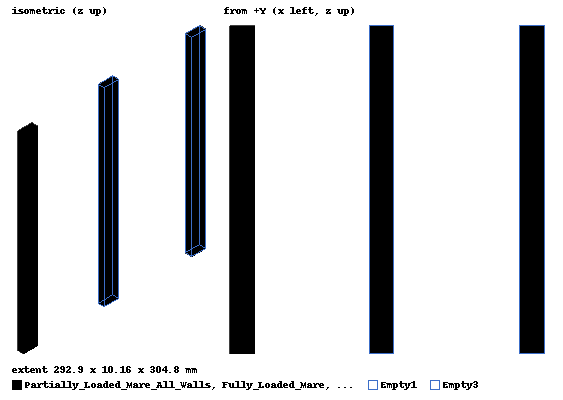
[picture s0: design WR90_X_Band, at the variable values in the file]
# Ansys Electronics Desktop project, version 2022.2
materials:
  vacuum: permittivity=1
  aluminum: permeability=1.000021 conductivity=38000000
  Rogers RO3003 (tm): permittivity=3 dielectric_loss_tangent=0.0013
  Mare_S_Band: permittivity=1.04 conductivity=4.34e-14 dielectric_loss_tangent=0.00298 delta_H_freq=2200000000
  Highlands_S_Band: permittivity=2.82 conductivity=4.34e-14 dielectric_loss_tangent=0.005 delta_H_freq=2200000000
  silver: permeability=0.99998 conductivity=61000000
  Mare_X-band: permittivity=3.18 conductivity=4.34e-14 dielectric_loss_tangent=0.0086 delta_H_freq=10000000000
  Highlands_X-band: permittivity=1.01 conductivity=4.34e-14 dielectric_loss_tangent=0.00243 delta_H_freq=10000000000
  Mare_Ka-band: permittivity=1.05 conductivity=4.34e-14 dielectric_loss_tangent=0.0029 delta_H_freq=26700000000
  Highlands_Ka-band: permittivity=1.5 conductivity=4.34e-14 dielectric_loss_tangent=0.0031 delta_H_freq=26700000000
  silicon_dioxide - experiment: permittivity=4 dielectric_loss_tangent=0.0002 delta_H_freq=2000000000
  alumina_99pct: permittivity=9.9 dielectric_loss_tangent=0.004 delta_H_freq=10000000000
  Mare_X-band - Partial: permittivity=3.18 conductivity=4.34e-14 dielectric_loss_tangent=0.0086 delta_H_freq=10000000000
  FR4_epoxy: permittivity=4.4 dielectric_loss_tangent=0.02
  conformal_coat: permittivity=3.1 permeability=1 dielectric_loss_tangent=0.035
  brass: conductivity=15000000
  bronze: conductivity=10000000

design WR90_X_Band (HFSS, DrivenModal, model units mm)
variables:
  height = 9mm
  height_all_walls = 5mm
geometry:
  Empty [vacuum, non-model] = box(corner=(-0.4mm, -1.2mm, 0mm), size=(22.86mm, 10.16mm, 1ft))
  Fully_Loaded_Mare [Mare_X-band - Partial] = box(corner=(-0.4mm, -1.2mm, 0mm), size=(22.86mm, 10.16mm, 1ft))
  Fully_Loaded_Mare.move(-62.46mm, 0mm, 0mm)
  Fully_Loaded_Highlands [vacuum, non-model] = box(corner=(-0.4mm, -1.2mm, 0mm), size=(22.86mm, 10.16mm, 1ft))
  Fully_Loaded_Highlands.move(-62.46mm, 0mm, 0mm)
  Fully_Loaded_Highlands.move(-60mm, 0mm, 0mm)
  Empty1 [vacuum] = box(corner=(-0.4mm, -1.2mm, 0mm), size=(22.86mm, 10.16mm, 1ft))
  Empty1.move(-192.46mm, 0mm, 0mm)
  Empty2 [vacuum, non-model] = box(corner=(-0.4mm, -1.2mm, 0mm), size=(22.86mm, 10.16mm, 1ft))
  Empty2.move(-262.46mm, 0mm, 0mm)
  Partially_Loaded_Mare [Mare_X-band] = box(corner=(-0.4mm, -1.2mm, 0mm), size=(22.86mm, height, 1ft))
  Partially_Loaded_Mare.move(-192.46mm, 0mm, 0mm)
  Partially_Loaded_Highlands [alumina_99pct, non-model] = box(corner=(-0.4mm, -1.2mm, 0mm), size=(22.86mm, height, 1ft))
  Partially_Loaded_Highlands.move(-262.46mm, 0mm, 0mm)
  Empty3 [vacuum] = box(corner=(-0.4mm, -1.2mm, 0mm), size=(22.86mm, 10.16mm, 1ft))
  Empty3.move(-192.46mm, 0mm, 0mm)
  Empty4 [vacuum, non-model] = box(corner=(-0.4mm, -1.2mm, 0mm), size=(22.86mm, 10.16mm, 1ft))
  Empty4.move(-262.46mm, 0mm, 0mm)
  Partially_Loaded_Mare_All_Walls [Mare_X-band] = box(corner=(-0.4mm, -1.2mm, 0mm), size=(22.86mm, height_all_walls, 1ft))
  Partially_Loaded_Mare_All_Walls.move(-192.46mm, 0mm, 0mm)
  Partially_Loaded_Highlands_All_Walls [alumina_99pct, non-model] = box(corner=(-0.4mm, -1.2mm, 0mm), size=(22.86mm, height_all_walls, 1ft))
  Partially_Loaded_Highlands_All_Walls.move(-262.46mm, 0mm, 0mm)
  [Empty3, Empty4, Partially_Loaded_Mare_All_Walls, Partially_Loaded_Highlands_All_Walls].move(-140mm, 0mm, 0mm)
  Box1 = box(corner=(-310mm, -1.2mm, 0mm), size=(-height_all_walls, 10.16mm, 304.8mm))
  Box2 = box(corner=(-332.86mm, -1.2mm, 0mm), size=(height_all_walls, 10.16mm, 304.8mm))
  Box3 = box(corner=(-310mm, 8.96mm, 0mm), size=(-22.86mm, -height_all_walls, 304.8mm))
  Partially_Loaded_Mare_All_Walls.unite(Box1, Box2, Box3)
  Box4 = box(corner=(-380mm, -1.2mm, 0mm), size=(-height_all_walls, 10.16mm, 304.8mm))
  Box5 = box(corner=(-402.86mm, -1.2mm, 0mm), size=(height_all_walls, 10.16mm, 304.8mm))
  Box6 = box(corner=(-380mm, 8.96mm, 0mm), size=(-22.86mm, -height_all_walls, 304.8mm))
  Partially_Loaded_Highlands_All_Walls.unite(Box4, Box5, Box6)
  Empty5 [vacuum, non-model] = box(corner=(-0.4mm, -1.2mm, 0mm), size=(22.86mm, 10.16mm, 1ft))
  Empty5.move(60.4mm, 0mm, 0mm)
  Empty6 [vacuum, non-model] = box(corner=(-0.4mm, -1.2mm, 0mm), size=(22.86mm, 10.16mm, 1ft))
  Empty6.move(60.4mm, 0mm, 0mm)
  Empty6.move(60mm, 0mm, 0mm)
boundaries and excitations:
  FiniteCond1: Finite Conductivity Faces=Fully_Loaded_Mare.face(+y, -x, +x, -y) Empty1.face(+y, -x, +x) Partially_Loaded_Mare_All_Walls.face(5 of 6, -x, +x, -y) Partially_Loaded_Mare.face(-y) UseMaterial Material=aluminum IsInternal
  1: Wave Port Faces=Empty1.face(-z) NumModes=1 Modes{Mode1{IntLine{(-181.43, -1.2, 0) -> (-181.43, 8.96, 0)} CharImp=Zpi}}
  2: Wave Port Faces=Empty1.face(+z) NumModes=1 Modes{Mode1{IntLine{(-181.43, -1.2, 304.8) -> (-181.43, 8.96, 304.8)} CharImp=Zpi}}
  3: Wave Port Faces=Empty3.face(-z) NumModes=1 Modes{Mode1{IntLine{(-321.43, -1.2, 0) -> (-321.43, 8.96, 0)} CharImp=Zpi}}
  4: Wave Port Faces=Empty3.face(+z) NumModes=1 Modes{Mode1{IntLine{(-321.43, -1.2, 304.8) -> (-321.43, 8.96, 304.8)} CharImp=Zpi}}
  5: Wave Port Faces=Fully_Loaded_Mare.face(-z) NumModes=1 Modes{Mode1{IntLine{(-51.43, -1.2, 0) -> (-51.43, 8.96, 0)} CharImp=Zpi}}
  6: Wave Port Faces=Fully_Loaded_Mare.face(+z) NumModes=1 Modes{Mode1{IntLine{(-51.43, -1.2, 304.8) -> (-51.43, 8.96, 304.8)} CharImp=Zpi}}
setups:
  Setup1: HfssDriven Frequency=11GHz MaxDeltaS=0.02 MaximumPasses=6 MinimumPasses=1 MinimumConvergedPasses=1 PercentRefinement=30 BasisOrder=1 PortAccuracy=2 DrivenSolverType="Direct Solver"
    sweep Sweep: 2GHz to 11GHz, 500 points; Type=Interpolating InterpTolerance=0.5 InterpMaxSolns=250 InterpUsePortImped=false PassivityErrorTolerance=0.0001
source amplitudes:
  1:1: 1W 0deg
  2:1, 3:1, 4:1, 5:1, 6:1: 0W 0deg
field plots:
  Vector_E1, Mag_E1: E Field in Partially_Loaded_Mare on Setup1 : LastAdaptive at Freq=11GHz Phase=0deg
  Mag_E2: E Field in Empty1 on Setup1 : LastAdaptive at Freq=11GHz Phase=0deg
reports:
  Insertion: dB(S(2,1)), dB(S(4,3)) vs Freq on Setup1 : Sweep; markers m1 at 10.008016GHz, m2 at 10.008016GHz
  Reflection: dB(S(1,1)), dB(S(3,3)) vs Freq on Setup1 : Sweep; markers m1 at 10.008016GHz, m2 at 10.008016GHz
  VSWR Plot 1: VSWR(1), VSWR(3) vs Freq on Setup1 : Sweep; markers m1 at 10.008016GHz, m2 at 10.008016GHz
  S Parameter Plot 1: dB(S(2,1)), dB(S(4,3)) vs Freq on Setup1 : Sweep; markers m1 at 4.1102204GHz, m2 at 5.6793587GHz
